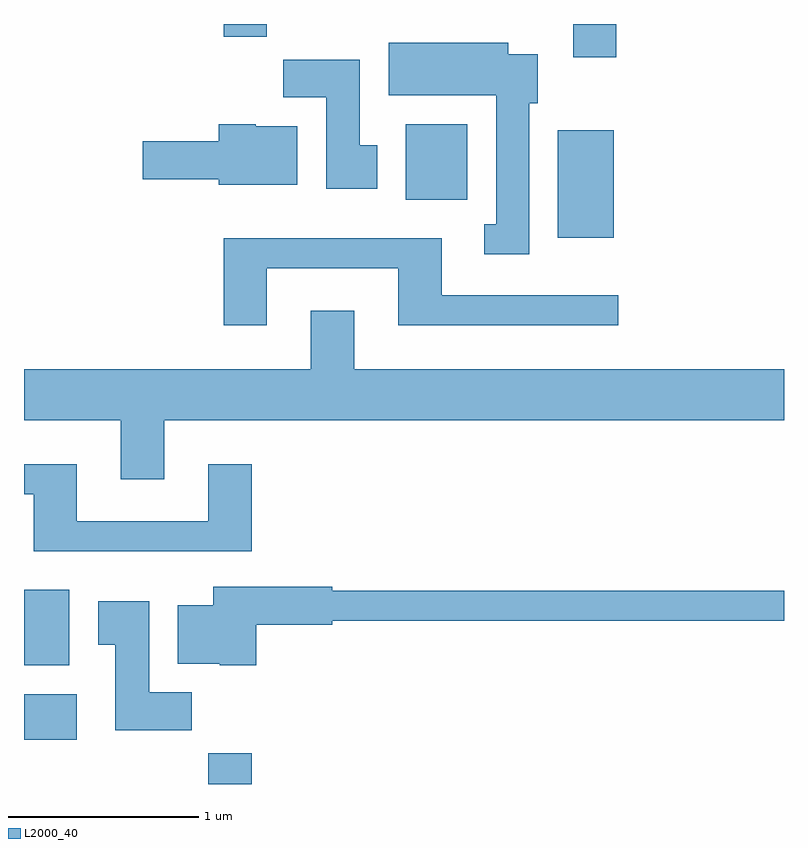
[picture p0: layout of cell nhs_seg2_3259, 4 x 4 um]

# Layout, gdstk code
import gdstk
lib = gdstk.Library(unit=1e-6, precision=1e-09)
def R(c, l, rs):  # rectangles x0, y0, x1, y1
    for r in rs: c.add(gdstk.rectangle(r[:2], r[2:], *l))
def P(c, l, *ps):  # polygons
    for p in ps: c.add(gdstk.Polygon(p, *l))
L2000_40 = (2000, 40)

nhs_seg2_3259 = lib.new_cell('nhs_seg2_3259')
R(nhs_seg2_3259, L2000_40, [(282.581,979.802,282.809,979.964), (281.611,980.036,281.889,980.274), (281.611,980.426,281.849,980.824), (284.421,982.676,284.714,983.244), (283.621,982.876,283.944,983.274), (284.501,983.626,284.729,983.802), (282.661,983.736,282.889,983.802)])
P(nhs_seg2_3259, L2000_40, [(284.269,983.386),(284.314,983.386),(284.314,983.644),(284.159,983.644),(284.159,983.704),(283.531,983.704),(283.531,983.426),(284.096,983.426),(284.096,982.749),(284.033,982.749),(284.033,982.591),(284.269,982.591)],
  [(283.469,983.164),(283.379,983.164),(283.379,983.614),(282.976,983.614),(282.976,983.416),(283.201,983.416),(283.201,982.936),(283.469,982.936)],
  [(283.049,983.264),(282.83,983.264),(282.83,983.274),(282.636,983.274),(282.636,983.184),(282.236,983.184),(282.236,982.986),(282.636,982.986),(282.636,982.956),(283.049,982.956)],
  [(282.889,982.516),(283.581,982.516),(283.581,982.216),(284.738,982.216),(284.738,982.374),(283.809,982.374),(283.809,982.674),(282.661,982.674),(282.661,982.216),(282.889,982.216)],
  [(282.349,981.716),(285.611,981.716),(285.611,981.984),(283.349,981.984),(283.349,982.294),(283.121,982.294),(283.121,981.984),(281.611,981.984),(281.611,981.716),(282.121,981.716),(282.121,981.406),(282.349,981.406)],
  [(282.809,981.484),(282.581,981.484),(282.581,981.184),(281.889,981.184),(281.889,981.484),(281.611,981.484),(281.611,981.326),(281.661,981.326),(281.661,981.026),(282.809,981.026)],
  [(282.834,980.641),(283.234,980.641),(283.234,980.661),(285.611,980.661),(285.611,980.819),(283.234,980.819),(283.234,980.839),(282.606,980.839),(282.606,980.744),(282.421,980.744),(282.421,980.436),(282.64,980.436),(282.64,980.426),(282.834,980.426)],
  [(282.494,980.284),(282.269,980.284),(282.269,980.764),(282.001,980.764),(282.001,980.536),(282.091,980.536),(282.091,980.086),(282.494,980.086)])

lib.write_gds('nhs_seg2_3259.gds')
